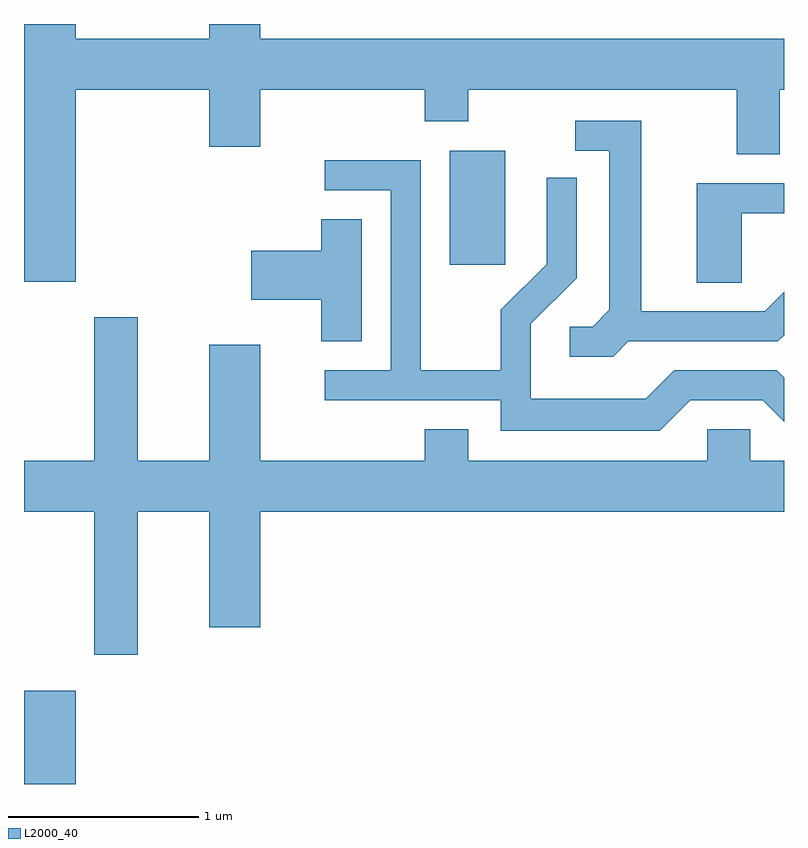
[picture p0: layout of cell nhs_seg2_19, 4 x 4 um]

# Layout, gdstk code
import gdstk
lib = gdstk.Library(unit=1e-6, precision=1e-09)
def R(c, l, rs):  # rectangles x0, y0, x1, y1
    for r in rs: c.add(gdstk.rectangle(r[:2], r[2:], *l))
def P(c, l, *ps):  # polygons
    for p in ps: c.add(gdstk.Polygon(p, *l))
L2000_40 = (2000, 40)

nhs_seg2_19 = lib.new_cell('nhs_seg2_19')
R(nhs_seg2_19, L2000_40, [(185.611,1015.802,185.884,1016.294), (187.851,1018.536,188.144,1019.134)])
P(nhs_seg2_19, L2000_40, [(185.884,1019.456),(186.586,1019.456),(186.586,1019.156),(186.854,1019.156),(186.854,1019.456),(187.721,1019.456),(187.721,1019.291),(187.949,1019.291),(187.949,1019.456),(189.361,1019.456),(189.361,1019.116),(189.589,1019.116),(189.589,1019.456),(189.611,1019.456),(189.611,1019.724),(186.854,1019.724),(186.854,1019.802),(186.586,1019.802),(186.586,1019.724),(185.884,1019.724),(185.884,1019.802),(185.611,1019.802),(185.611,1018.446),(185.884,1018.446)],
  [(188.792,1018.131),(189.577,1018.131),(189.611,1018.165),(189.611,1018.392),(189.509,1018.289),(188.859,1018.289),(188.859,1019.294),(188.513,1019.294),(188.513,1019.136),(188.691,1019.136),(188.691,1018.297),(188.604,1018.209),(188.483,1018.209),(188.483,1018.051),(188.712,1018.051)],
  [(189.117,1017.821),(189.499,1017.821),(189.611,1017.709),(189.611,1017.94),(189.572,1017.979),(189.034,1017.979),(188.884,1017.829),(188.279,1017.829),(188.279,1018.224),(188.519,1018.464),(188.519,1018.993),(188.361,1018.993),(188.361,1018.537),(188.121,1018.297),(188.121,1017.979),(187.699,1017.979),(187.699,1019.084),(187.193,1019.084),(187.193,1018.926),(187.541,1018.926),(187.541,1017.979),(187.193,1017.979),(187.193,1017.821),(188.121,1017.821),(188.121,1017.661),(188.957,1017.661)],
  [(189.389,1018.806),(189.611,1018.806),(189.611,1018.964),(189.151,1018.964),(189.151,1018.441),(189.389,1018.441)],
  [(187.389,1018.774),(187.176,1018.774),(187.176,1018.609),(186.806,1018.609),(186.806,1018.351),(187.176,1018.351),(187.176,1018.131),(187.389,1018.131)],
  [(186.209,1017.236),(186.586,1017.236),(186.586,1016.626),(186.854,1016.626),(186.854,1017.236),(189.611,1017.236),(189.611,1017.504),(189.434,1017.504),(189.434,1017.669),(189.206,1017.669),(189.206,1017.504),(187.949,1017.504),(187.949,1017.669),(187.721,1017.669),(187.721,1017.504),(186.854,1017.504),(186.854,1018.114),(186.586,1018.114),(186.586,1017.504),(186.209,1017.504),(186.209,1018.259),(185.981,1018.259),(185.981,1017.504),(185.611,1017.504),(185.611,1017.236),(185.981,1017.236),(185.981,1016.481),(186.209,1016.481)])

lib.write_gds('nhs_seg2_19.gds')
